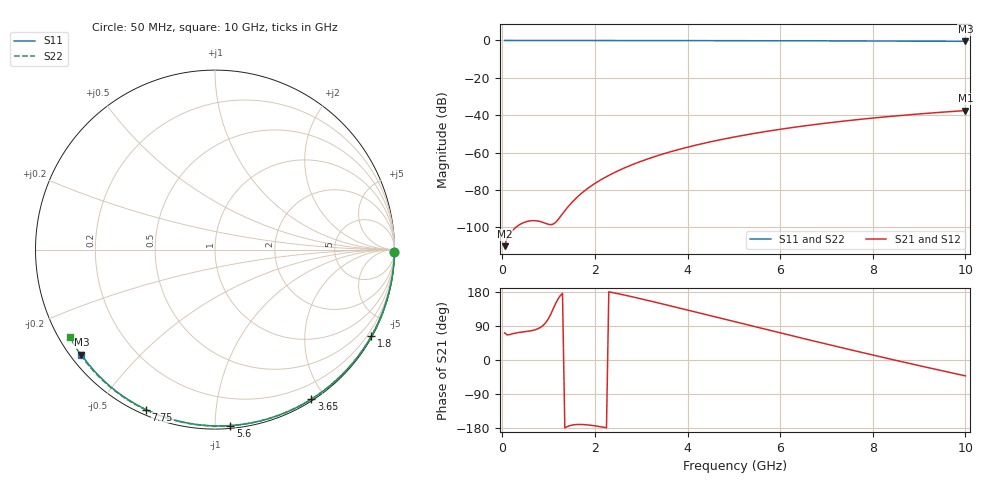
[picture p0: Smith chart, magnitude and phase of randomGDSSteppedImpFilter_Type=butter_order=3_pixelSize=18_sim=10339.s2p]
! freq	dB(S11)	phase(S11)	dB(S12)	phase(S12)
!  dB(S21)	phase(S21)	dB(S22)	phase(S22)
!S-par simulation data
#  GHz  S  DB  R 50
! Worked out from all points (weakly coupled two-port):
!   200 points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, 50 MHz to 10 GHz, reference 50 ohm
!   highest |S21| = -37.50 dB at 10 GHz (marker M1); lowest = -110.1 dB at 50 MHz (marker M2)
!   lowest |S11| = -0.5 dB at 10 GHz (marker M3), VSWR 36.48, Z = 1.53 - j17.3 ohm
!   |S11| at or under -10 dB: nowhere
!   |S22| runs from -0.5 to 0.0 dB; largest |S21 - S12| = 0
!   S11 on the Smith chart (normalised r, x): 50 MHz: open; 1.8 GHz: 0.03, -3.88; 3.65 GHz: 0.02, -1.83; 5.6 GHz: 0.02, -1.09; 7.75 GHz: 0.02, -0.66; 10 GHz: 0.03, -0.35
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0.05  -0.00 -0.8  -110.06 71.8  -110.06 71.8  -0.00 -0.9
0.45  -0.01 -7.3  -97.56 74.2  -97.56 74.2  -0.01 -7.8
0.9  -0.02 -14.6  -97.54 93.4  -97.54 93.4  -0.02 -15.4
1.3  -0.03 -21.0  -92.74 176.1  -92.74 176.1  -0.03 -22.2
1.75  -0.04 -28.1  -80.96 -170.4  -80.96 -170.4  -0.04 -29.7
1.8  -0.04 -28.9  -79.99 -170.8  -79.99 -170.8  -0.04 -30.6
1.95  -0.04 -31.3  -77.32 -172.8  -77.32 -172.8  -0.04 -33.0
2.1  -0.04 -33.6  -74.97 -175.6  -74.97 -175.6  -0.05 -35.5
2.3  -0.05 -36.7  -72.19 180.0  -72.19 180.0  -0.05 -38.8
2.5  -0.05 -39.8  -69.74 175.0  -69.74 175.0  -0.05 -42.1
2.9  -0.06 -46.0  -65.55 164.1  -65.55 164.1  -0.06 -48.5
3.4  -0.07 -53.5  -61.27 149.7  -61.27 149.7  -0.08 -56.4
3.65  -0.08 -57.2  -59.43 142.3  -59.43 142.3  -0.08 -60.3
4.3  -0.09 -66.7  -55.31 122.7  -55.31 122.7  -0.10 -70.3
5.05  -0.12 -77.4  -51.45 100.1  -51.45 100.1  -0.13 -81.4
5.6  -0.14 -85.0  -49.07 83.5  -49.07 83.5  -0.15 -89.4
6.15  -0.16 -92.4  -46.98 67.1  -46.98 67.1  -0.17 -97.2
6.7  -0.19 -99.7  -45.13 50.8  -45.13 50.8  -0.20 -104.8
7.75  -0.26 -113.3  -42.14 20.3  -42.14 20.3  -0.28 -119.0
8.35  -0.31 -121.0  -40.70 3.3  -40.70 3.3  -0.33 -126.9
9.2  -0.39 -131.7  -38.93 -20.3  -38.93 -20.3  -0.41 -138.1
10  -0.48 -141.9  -37.50 -41.8  -37.50 -41.8  -0.50 -148.8
